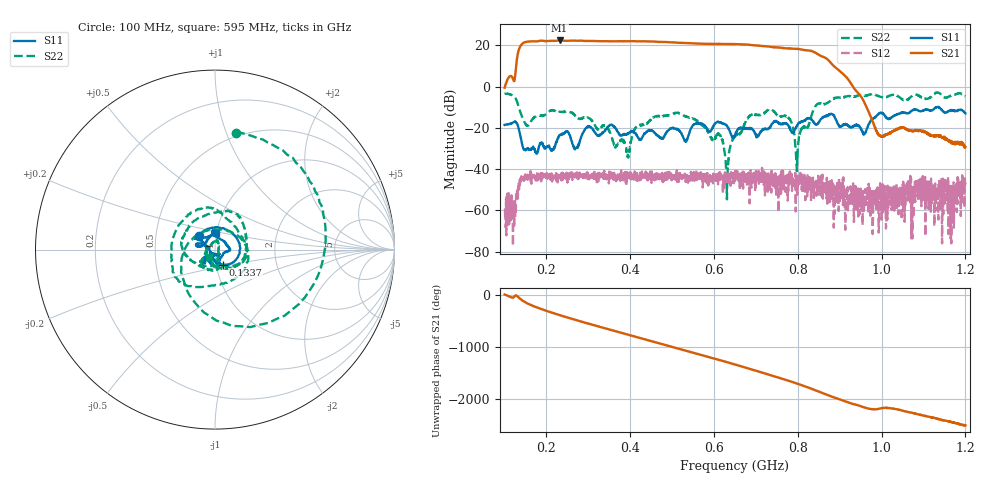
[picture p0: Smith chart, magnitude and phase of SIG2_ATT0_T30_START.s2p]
# Hz S DB R 50
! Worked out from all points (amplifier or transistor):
!   1601 points, 100 MHz to 1.2 GHz, reference 50 ohm
!   highest |S21| = 22.3 dB at 231.3 MHz (marker M1)
!   |S21| within 3 dB of that: 137 MHz to 732.6 MHz (595.6 MHz wide, 137 % of centre)
!   unconditionally stable (mu >= 1): start of sweep to end of sweep
!   at 282.9 MHz: K = 5.80, MAG = 22.4 dB, |S12| = -43.7 dB
!   at 650 MHz: K = 9.11, MAG = 20.6 dB, |S12| = -45.8 dB
!   at 1.2 GHz: K = 1914.34, MAG = -27.3 dB, |S12| = -46.3 dB
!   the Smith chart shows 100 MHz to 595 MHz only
!   S11 on the Smith chart (normalised r, x): 100 MHz: 0.83, +0.13; 133.7 MHz: 1.08, -0.18; 595 MHz: 0.99, +0.19
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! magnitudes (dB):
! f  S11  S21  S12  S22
! 100 MHz  -18.6  -0.6  -59.0  -3.6
! 122.7 MHz  -17.2  2.6  -68.5  -4.8
! 133.7 MHz  -20.4  17.6  -46.3  -10.0
! 174.9 MHz  -32.2  21.9  -44.0  -14.5
! 231.3 MHz  -23.7  22.3  -44.5  -12.3
! 283.6 MHz  -24.1  22.2  -42.3  -15.5
! 394.2 MHz  -22.8  22.0  -44.0  -33.1
! 414.9 MHz  -23.5  21.9  -40.6  -19.5
! 467.1 MHz  -24.1  21.7  -42.9  -14.2
! 595 MHz  -20.6  20.6  -44.7  -25.9
! 615.6 MHz  -17.3  20.6  -45.1  -23.9
! 630.8 MHz  -19.2  20.6  -42.7  -54.7
! 650 MHz  -24.1  20.5  -45.8  -23.5
! 735.2 MHz  -19.2  19.2  -44.9  -11.1
! 780.6 MHz  -19.8  18.4  -41.2  -15.9
! 797.8 MHz  -19.0  18.3  -49.8  -41.0
! 833.6 MHz  -16.2  17.2  -46.9  -13.4
! 958 MHz  -23.2  -7.4  -59.0  -4.5
! 991.7 MHz  -13.6  -23.2  -52.8  -4.6
! 1.017 GHz  -15.6  -22.8  -52.3  -4.6
! 1.17 GHz  -11.7  -27.8  -50.6  -4.2
! 1.2 GHz  -13.0  -29.3  -46.3  -4.7
